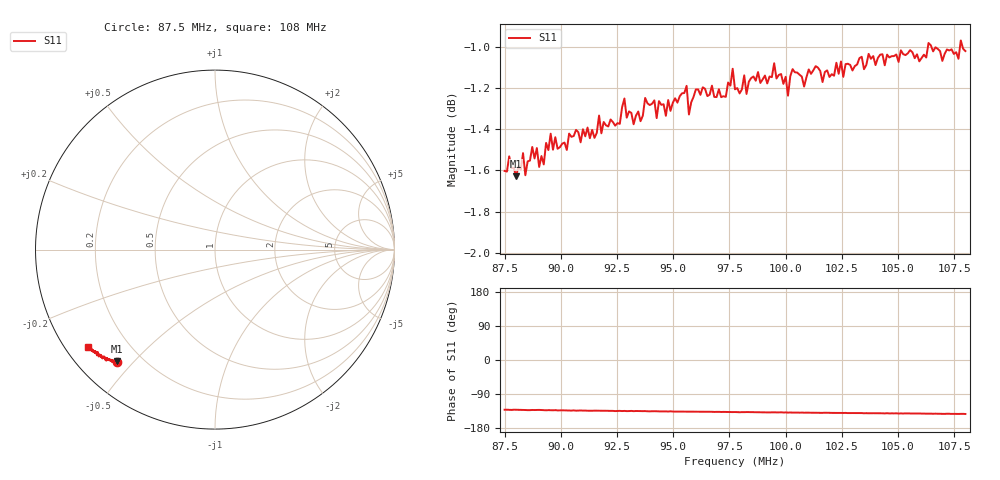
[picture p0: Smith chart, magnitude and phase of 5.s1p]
!Agilent Technologies,N5225A,MY51441201,A.09.90.19
!Agilent N5225A: A.09.90.19
!Date: Wednesday, April 25, 2018 14:37:38
!Correction: S11(Full 1 Port(1))
!S1P File: Measurement: S11:
# Hz S  dB  R 50
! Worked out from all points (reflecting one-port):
!   201 points, 87.5 MHz to 108 MHz, reference 50 ohm
!   lowest |S11| = -1.6 dB at 88.01 MHz (marker M1), VSWR 10.70, Z = 5.62 - j22.4 ohm
!   phase of S11 starts at -131 deg and turns -11 deg over the sweep
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8.75e7  -1.60 -131.2
8.80125e7  -1.63 -131.3
8.832e7  -1.52 -131.6
8.8525e7  -1.56 -132.3
8.90375e7  -1.58 -131.7
8.9345e7  -1.47 -132.7
9.00625e7  -1.47 -132.7
9.06775e7  -1.40 -133.7
9.08825e7  -1.46 -133.2
9.17025e7  -1.33 -134.1
9.2625e7  -1.37 -134.3
9.27275e7  -1.29 -134.7
9.35475e7  -1.36 -134.8
9.37525e7  -1.25 -134.8
9.51875e7  -1.27 -136.1
9.55975e7  -1.19 -136.0
9.57e7  -1.33 -136.1
9.611e7  -1.21 -136.6
9.72375e7  -1.24 -137.0
9.76475e7  -1.11 -137.4
9.775e7  -1.21 -137.3
9.8775e7  -1.12 -138.1
9.98e7  -1.13 -138.0
1.001075e8  -1.24 -138.8
1.003125e8  -1.11 -138.9
1.02875e8  -1.09 -139.9
1.054375e8  -1.03 -141.0
1.08e8  -1.02 -142.5
